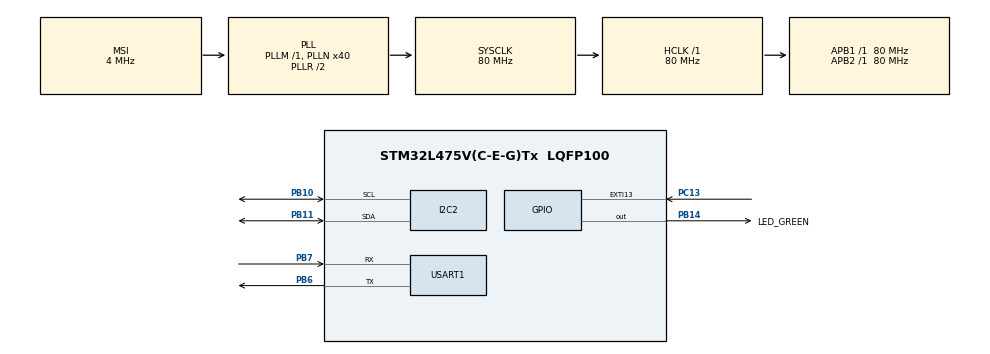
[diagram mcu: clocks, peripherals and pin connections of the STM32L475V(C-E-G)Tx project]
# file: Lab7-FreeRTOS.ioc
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Mcu.Family=STM32L4
RCC.MSI_VALUE=4000000
RCC.CortexFreq_Value=80000000
FREERTOS.Tasks01=defaultTask,0,128,button_pressed_task,Default,NULL,Dynamic,NULL,NULL;TransmitTask,-3,128,transmit_task,Default,NULL,Dynamic,NULL,NULL;ReadTask,-3,256,Read_Sensor,Default,NULL,Dynamic,NULL,NULL
PB10.Mode=I2C
VP_SYS_VS_tim17.Mode=TIM17
PC13.Signal=GPXTI13
PB14.GPIO_Label=LED_GREEN
I2C2.Timing=0x10909CEC
PB11.Signal=I2C2_SDA
RCC.SYSCLKSource=RCC_SYSCLKSOURCE_PLLCLK
ProjectManager.StackSize=0x400
USART1.VirtualMode-Asynchronous=VM_ASYNC
PB11.Mode=I2C
ProjectManager.TargetToolchain=STM32CubeIDE
RCC.HCLKFreq_Value=80000000
RCC.APB2TimFreq_Value=80000000
PB6.Signal=USART1_TX
PB6.Mode=Asynchronous
RCC.USBFreq_Value=48000000
RCC.LSE_VALUE=32768
RCC.AHBFreq_Value=80000000
PB10.Signal=I2C2_SCL
NVIC.EXTI15_10_IRQn=true\:0\:0\:false\:false\:true\:false\:true\:true
PB14.Signal=GPIO_Output
RCC.HSE_VALUE=8000000
board=B-L475E-IOT01A1
RCC.VCOOutputFreq_Value=160000000
NVIC.TIM1_TRG_COM_TIM17_IRQn=true\:0\:0\:false\:false\:true\:false\:false\:true
RCC.APB2Freq_Value=80000000
RCC.ADCFreq_Value=48000000
PB7.Signal=USART1_RX
VP_FREERTOS_VS_CMSIS_V1.Mode=CMSIS_V1
Mcu.Name=STM32L475V(C-E-G)Tx
RCC.SYSCLKFreq_VALUE=80000000
Mcu.Package=LQFP100
NVIC.TimeBase=TIM1_TRG_COM_TIM17_IRQn
PB7.Mode=Asynchronous
NVIC.TimeBaseIP=TIM17
ProjectManager.HeapSize=0x200
RCC.HSI_VALUE=16000000
NVIC.PriorityGroup=NVIC_PRIORITYGROUP_4
RCC.PLLN=40
RCC.APB1TimFreq_Value=80000000
RCC.APB1Freq_Value=80000000
RCC.PLLSAI1N=24

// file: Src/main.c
/* USER CODE BEGIN Header */
/**
  ******************************************************************************
  * @file           : main.c
  * @brief          : Main program body
  ******************************************************************************
  * @attention
  *
  * <h2><center>&copy; Copyright (c) 2020 STMicroelectronics.
  * All rights reserved.</center></h2>
  *
  * This software component is licensed by ST under Ultimate Liberty license
  * SLA0044, the "License"; You may not use this file except in compliance with
  * the License. You may obtain a copy of the License at:
  *                             www.st.com/SLA0044
  *
  ******************************************************************************
  */
/* USER CODE END Header */
#include "main.h"
#include "cmsis_os.h"

/* USER CODE BEGIN Includes */
#include "string.h"
#include "stm32l475e_iot01.h"
#include "stm32l475e_iot01_tsensor.h"
#include "stm32l475e_iot01_magneto.h"
#include "stm32l475e_iot01_accelero.h"
#include "stm32l475e_iot01_psensor.h"
#include "stm32l475e_iot01_hsensor.h"
#include "stm32l475e_iot01_gyro.h"

/* USER CODE END Includes */

I2C_HandleTypeDef hi2c2;

UART_HandleTypeDef huart1;

osThreadId defaultTaskHandle;
osThreadId TransmitTaskHandle;
osThreadId ReadTaskHandle;

void SystemClock_Config(void);
static void MX_GPIO_Init(void);
static void MX_I2C2_Init(void);
static void MX_USART1_UART_Init(void);
void button_pressed_task(void const * argument);
void transmit_task(void const * argument);
void Read_Sensor(void const * argument);

/* USER CODE BEGIN 0 */

int sensorType = 0;
char buffer[100] = {0};

/* USER CODE END 0 */

int main(void)
{

  /* MCU Configuration--------------------------------------------------------*/

  /* Reset of all peripherals, Initializes the Flash interface and the Systick. */
  HAL_Init();

  /* Configure the system clock */
  SystemClock_Config();

  /* Initialize all configured peripherals */
  MX_GPIO_Init();
  MX_I2C2_Init();
  MX_USART1_UART_Init();
  /* USER CODE BEGIN 2 */
  BSP_TSENSOR_Init();
  BSP_HSENSOR_Init();
  BSP_MAGNETO_Init();
  BSP_MAGNETO_LowPower(1);
  BSP_ACCELERO_Init();
  BSP_ACCELERO_LowPower(1);

  BSP_PSENSOR_Init();
  BSP_GYRO_Init();
  BSP_GYRO_LowPower(1);
  /* USER CODE END 2 */

  /* Create the thread(s) */
  /* definition and creation of defaultTask */
  osThreadDef(defaultTask, button_pressed_task, osPriorityNormal, 0, 128);
  defaultTaskHandle = osThreadCreate(osThread(defaultTask), NULL);

  /* definition and creation of TransmitTask */
  osThreadDef(TransmitTask, transmit_task, osPriorityIdle, 0, 128);
  TransmitTaskHandle = osThreadCreate(osThread(TransmitTask), NULL);

  /* definition and creation of ReadTask */
  osThreadDef(ReadTask, Read_Sensor, osPriorityIdle, 0, 256);
  ReadTaskHandle = osThreadCreate(osThread(ReadTask), NULL);

  /* Start scheduler */
  osKernelStart();

  /* We should never get here as control is now taken by the scheduler */
  /* Infinite loop */
  while (1)
  {

  }
}

void SystemClock_Config(void)
{
  RCC_OscInitTypeDef RCC_OscInitStruct = {0};
  RCC_ClkInitTypeDef RCC_ClkInitStruct = {0};
  RCC_PeriphCLKInitTypeDef PeriphClkInit = {0};

  /** Initializes the RCC Oscillators according to the specified parameters
  * in the RCC_OscInitTypeDef structure.
  */
  RCC_OscInitStruct.OscillatorType = RCC_OSCILLATORTYPE_MSI;
  RCC_OscInitStruct.MSIState = RCC_MSI_ON;
  RCC_OscInitStruct.MSICalibrationValue = 0;
  RCC_OscInitStruct.MSIClockRange = RCC_MSIRANGE_6;
  RCC_OscInitStruct.PLL.PLLState = RCC_PLL_ON;
  RCC_OscInitStruct.PLL.PLLSource = RCC_PLLSOURCE_MSI;
  RCC_OscInitStruct.PLL.PLLM = 1;
  RCC_OscInitStruct.PLL.PLLN = 40;
  RCC_OscInitStruct.PLL.PLLP = RCC_PLLP_DIV7;
  RCC_OscInitStruct.PLL.PLLQ = RCC_PLLQ_DIV2;
  RCC_OscInitStruct.PLL.PLLR = RCC_PLLR_DIV2;
  if (HAL_RCC_OscConfig(&RCC_OscInitStruct) != HAL_OK)
  {
    Error_Handler();
  }
  /** Initializes the CPU, AHB and APB buses clocks
  */
  RCC_ClkInitStruct.ClockType = RCC_CLOCKTYPE_HCLK|RCC_CLOCKTYPE_SYSCLK
                              |RCC_CLOCKTYPE_PCLK1|RCC_CLOCKTYPE_PCLK2;
  RCC_ClkInitStruct.SYSCLKSource = RCC_SYSCLKSOURCE_PLLCLK;
  RCC_ClkInitStruct.AHBCLKDivider = RCC_SYSCLK_DIV1;
  RCC_ClkInitStruct.APB1CLKDivider = RCC_HCLK_DIV1;
  RCC_ClkInitStruct.APB2CLKDivider = RCC_HCLK_DIV1;

  if (HAL_RCC_ClockConfig(&RCC_ClkInitStruct, FLASH_LATENCY_4) != HAL_OK)
  {
    Error_Handler();
  }
  PeriphClkInit.PeriphClockSelection = RCC_PERIPHCLK_USART1|RCC_PERIPHCLK_I2C2;
  PeriphClkInit.Usart1ClockSelection = RCC_USART1CLKSOURCE_PCLK2;
  PeriphClkInit.I2c2ClockSelection = RCC_I2C2CLKSOURCE_PCLK1;
  if (HAL_RCCEx_PeriphCLKConfig(&PeriphClkInit) != HAL_OK)
  {
    Error_Handler();
  }
  /** Configure the main internal regulator output voltage
  */
  if (HAL_PWREx_ControlVoltageScaling(PWR_REGULATOR_VOLTAGE_SCALE1) != HAL_OK)
  {
    Error_Handler();
  }
}

static void MX_I2C2_Init(void)
{

  hi2c2.Instance = I2C2;
  hi2c2.Init.Timing = 0x10909CEC;
  hi2c2.Init.OwnAddress1 = 0;
  hi2c2.Init.AddressingMode = I2C_ADDRESSINGMODE_7BIT;
  hi2c2.Init.DualAddressMode = I2C_DUALADDRESS_DISABLE;
  hi2c2.Init.OwnAddress2 = 0;
  hi2c2.Init.OwnAddress2Masks = I2C_OA2_NOMASK;
  hi2c2.Init.GeneralCallMode = I2C_GENERALCALL_DISABLE;
  hi2c2.Init.NoStretchMode = I2C_NOSTRETCH_DISABLE;
  if (HAL_I2C_Init(&hi2c2) != HAL_OK)
  {
    Error_Handler();
  }
  /** Configure Analogue filter
  */
  if (HAL_I2CEx_ConfigAnalogFilter(&hi2c2, I2C_ANALOGFILTER_ENABLE) != HAL_OK)
  {
    Error_Handler();
  }
  /** Configure Digital filter
  */
  if (HAL_I2CEx_ConfigDigitalFilter(&hi2c2, 0) != HAL_OK)
  {
    Error_Handler();
  }

}

static void MX_USART1_UART_Init(void)
{

  huart1.Instance = USART1;
  huart1.Init.BaudRate = 115200;
  huart1.Init.WordLength = UART_WORDLENGTH_8B;
  huart1.Init.StopBits = UART_STOPBITS_1;
  huart1.Init.Parity = UART_PARITY_NONE;
  huart1.Init.Mode = UART_MODE_TX_RX;
  huart1.Init.HwFlowCtl = UART_HWCONTROL_NONE;
  huart1.Init.OverSampling = UART_OVERSAMPLING_16;
  huart1.Init.OneBitSampling = UART_ONE_BIT_SAMPLE_DISABLE;
  huart1.AdvancedInit.AdvFeatureInit = UART_ADVFEATURE_NO_INIT;
  if (HAL_UART_Init(&huart1) != HAL_OK)
  {
    Error_Handler();
  }

}

static void MX_GPIO_Init(void)
{
  GPIO_InitTypeDef GPIO_InitStruct = {0};

  /* GPIO Ports Clock Enable */
  __HAL_RCC_GPIOC_CLK_ENABLE();
  __HAL_RCC_GPIOB_CLK_ENABLE();

  /*Configure GPIO pin Output Level */
  HAL_GPIO_WritePin(LED_GREEN_GPIO_Port, LED_GREEN_Pin, GPIO_PIN_RESET);

  /*Configure GPIO pin : PC13 */
  GPIO_InitStruct.Pin = GPIO_PIN_13;
  GPIO_InitStruct.Mode = GPIO_MODE_IT_RISING;
  GPIO_InitStruct.Pull = GPIO_NOPULL;
  HAL_GPIO_Init(GPIOC, &GPIO_InitStruct);

  /*Configure GPIO pin : LED_GREEN_Pin */
  GPIO_InitStruct.Pin = LED_GREEN_Pin;
  GPIO_InitStruct.Mode = GPIO_MODE_OUTPUT_PP;
  GPIO_InitStruct.Pull = GPIO_NOPULL;
  GPIO_InitStruct.Speed = GPIO_SPEED_FREQ_LOW;
  HAL_GPIO_Init(LED_GREEN_GPIO_Port, &GPIO_InitStruct);

  /* EXTI interrupt init*/
  HAL_NVIC_SetPriority(EXTI15_10_IRQn, 0, 0);
  HAL_NVIC_EnableIRQ(EXTI15_10_IRQn);

}

void button_pressed_task(void const * argument)
{
  /* USER CODE BEGIN 5 */
  /* Infinite loop */
	for(;;){
		osDelay(200);
		if(!HAL_GPIO_ReadPin(GPIOC, GPIO_PIN_13)){
			sensorType++;
			if(sensorType == 4){
				sensorType = 0;
			}
		}
	}

  /* USER CODE END 5 */
}

void transmit_task(void const * argument)
{
  /* USER CODE BEGIN transmit_task */
  /* Infinite loop */
  for(;;)
  {
    osDelay(100);
    HAL_UART_Transmit(&huart1, (uint8_t *) buffer, (uint16_t) strlen(buffer), 30000);
  }
  /* USER CODE END transmit_task */
}

void Read_Sensor(void const * argument)
{
  /* USER CODE BEGIN Read_Sensor */
	float temperature = 0;
	float humidity = 0;
	int16_t magnetic[3] = {0};
	float gyro[3] = {0};
	int16_t accelerator[3] = {0};

	float pressure = 0;

	/*initialization of str to be sent*/
	char tBuff[20];

	char MxBuff[60];
	char MyBuff[20];
	char MzBuff[20];
/*
	char AxBuff[60];
	char AyBuff[20];
	char AzBuff[20];
*/
	char GxBuff[60];
	char GyBuff[20];
	char GzBuff[20];

	char pBuff[20];
  /* Infinite loop */
  for(;;)
  {
    osDelay(100);
    //Display
	if(sensorType == 0){
		/*
		temperature = BSP_TSENSOR_Readtemperature();
		sprintf(tBuff, "Measured temperature is: %d   ", (int16_t) temperature);
		memset(buffer, 0, strlen(buffer));
		strcat(buffer, tBuff);
		*/
		humidity = BSP_HSENSOR_ReadHumidity();
		sprintf(tBuff, "The measured humidity: %d \n", (int16_t) humidity);
		//initialize buffer
		memset(buffer, 0, strlen(buffer));
		//store each character to buffer
		strcat(buffer, tBuff);
	}
	else if(sensorType == 1){
		BSP_MAGNETO_GetXYZ(magnetic);
		sprintf(MxBuff, "Magn X is:%d ", magnetic[0]);
		sprintf(MyBuff, "Magn Y is:%d ", magnetic[1]);
		sprintf(MzBuff, "Magn Z is:%d \n", magnetic[2]);
		//initialize buffer
		memset(buffer, 0, strlen(buffer));
		//store each character to buffer
		strcat(buffer, MxBuff);
		strcat(buffer, MyBuff);
		strcat(buffer, MzBuff);
	}
	else if(sensorType == 2){
		/*
		BSP_accelerator_AccGetXYZ(accelerator);
		sprintf(AxBuff, "Acc X:%d ", (int) accelerator[0]);
		sprintf(AyBuff, "Y:%d ", (int) accelerator[1]);
		sprintf(AzBuff, "Z:%d \n", (int) accelerator[2]);
		memset(buffer, 0, strlen(buffer));
		strcat(buffer, AxBuff);
		strcat(buffer, AyBuff);
		strcat(buffer, AzBuff);
		*/
		BSP_GYRO_GetXYZ(gyro);
		sprintf(GxBuff, "Gyro X is:%d ", (int16_t) gyro[0]);
		sprintf(GyBuff, "Gyro Y is:%d ", (int16_t) gyro[1]);
		sprintf(GzBuff, "Gyro Z is:%d \n", (int16_t) gyro[2]);
		//initialize buffer
		memset(buffer, 0, strlen(buffer));
		//store each character to buffer
		strcat(buffer, GxBuff);
		strcat(buffer, GyBuff);
		strcat(buffer, GzBuff);
	}
	else if(sensorType == 3){
		pressure = BSP_PSENSOR_ReadPressure();
		sprintf(pBuff, "The measured pressure is: %d \n", (int16_t) pressure);
		//initialize buffer
		memset(buffer, 0, strlen(buffer));
		//store each character to buffer
		strcat(buffer, pBuff);
	}
  }
  /* USER CODE END Read_Sensor */
}

void HAL_TIM_PeriodElapsedCallback(TIM_HandleTypeDef *htim)
{
  if (htim->Instance == TIM17) {
    HAL_IncTick();
  }
}

void Error_Handler(void)
{
}

/************************ (C) COPYRIGHT STMicroelectronics *****END OF FILE****/
